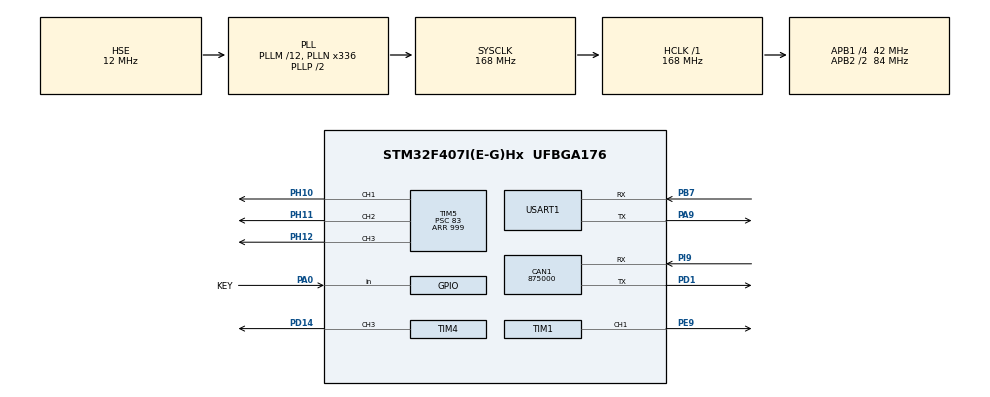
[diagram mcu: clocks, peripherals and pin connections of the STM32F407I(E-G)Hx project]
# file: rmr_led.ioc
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CAN1.CalculateBaudRate=875000
CAN1.CalculateTimeBit=1142
CAN1.CalculateTimeQuantum=380.95238095238096
FREERTOS.Tasks01=ledTask,24,256,StartledTask,Default,NULL,Dynamic,NULL,NULL;buzzerTask,24,256,StartbuzzerTask,Default,NULL,Dynamic,NULL,NULL;servoTask,24,256,StartservoTask,Default,NULL,Dynamic,NULL,NULL;motorTask,16,1024,StartmotorTask,Default,NULL,Dynamic,NULL,NULL
Mcu.Family=STM32F4
Mcu.Name=STM32F407I(E-G)Hx
Mcu.Package=UFBGA176
NVIC.PriorityGroup=NVIC_PRIORITYGROUP_4
NVIC.TIM8_UP_TIM13_IRQn=true\:15\:0\:false\:false\:true\:false\:false\:true\:true
NVIC.TimeBase=TIM8_UP_TIM13_IRQn
NVIC.TimeBaseIP=TIM13
PA0-WKUP.GPIO_Label=KEY
PA0-WKUP.GPIO_PuPd=GPIO_NOPULL
PA0-WKUP.Signal=GPIO_Input
PA13.Mode=Serial_Wire
PA13.Signal=SYS_JTMS-SWDIO
PA14.Mode=Serial_Wire
PA14.Signal=SYS_JTCK-SWCLK
PA9.Mode=Asynchronous
PA9.Signal=USART1_TX
PB7.Mode=Asynchronous
PB7.Signal=USART1_RX
PD1.Mode=CAN_Activate
PD1.Signal=CAN1_TX
PD14.Signal=S_TIM4_CH3
PE9.Signal=S_TIM1_CH1
PH0-OSC_IN.Mode=HSE-External-Oscillator
PH0-OSC_IN.Signal=RCC_OSC_IN
PH1-OSC_OUT.Mode=HSE-External-Oscillator
PH1-OSC_OUT.Signal=RCC_OSC_OUT
PH10.Signal=S_TIM5_CH1
PH11.Signal=S_TIM5_CH2
PH12.Signal=S_TIM5_CH3
PI9.Mode=CAN_Activate
PI9.Signal=CAN1_RX
ProjectManager.HeapSize=0x200
ProjectManager.StackSize=0x400
ProjectManager.TargetToolchain=CMake
RCC.48MHZClocksFreq_Value=84000000
RCC.AHBFreq_Value=168000000
RCC.APB1CLKDivider=RCC_HCLK_DIV4
RCC.APB1Freq_Value=42000000
RCC.APB1TimFreq_Value=84000000
RCC.APB2CLKDivider=RCC_HCLK_DIV2
RCC.APB2Freq_Value=84000000
RCC.APB2TimFreq_Value=168000000
RCC.CortexFreq_Value=168000000
RCC.HCLKFreq_Value=168000000
RCC.HSE_VALUE=12000000
RCC.HSI_VALUE=16000000
RCC.LSE_VALUE=32768
RCC.PLLM=12
RCC.PLLN=336
RCC.PLLSourceVirtual=RCC_PLLSOURCE_HSE
RCC.SYSCLKFreq_VALUE=168000000
RCC.SYSCLKSource=RCC_SYSCLKSOURCE_PLLCLK
RCC.VCOOutputFreq_Value=336000000
SH.S_TIM1_CH1.0=TIM1_CH1,PWM Generation1 CH1
SH.S_TIM4_CH3.0=TIM4_CH3,PWM Generation3 CH3
SH.S_TIM5_CH1.0=TIM5_CH1,PWM Generation1 CH1
SH.S_TIM5_CH2.0=TIM5_CH2,PWM Generation2 CH2
SH.S_TIM5_CH3.0=TIM5_CH3,PWM Generation3 CH3
TIM1.AutoReloadPreload=TIM_AUTORELOAD_PRELOAD_ENABLE
TIM1.AutomaticOutput=TIM_AUTOMATICOUTPUT_ENABLE
TIM1.BreakState=TIM_BREAK_DISABLE
TIM1.Channel-PWM\ Generation1\ CH1=TIM_CHANNEL_1
TIM1.Period=19999
TIM1.Prescaler=167
TIM1.Pulse-PWM\ Generation1\ CH1=500
TIM4.AutoReloadPreload=TIM_AUTORELOAD_PRELOAD_ENABLE
TIM4.Channel-PWM\ Generation3\ CH3=TIM_CHANNEL_3
TIM4.Period=249
TIM4.Prescaler=83
TIM4.Pulse-PWM\ Generation3\ CH3=125
TIM5.AutoReloadPreload=TIM_AUTORELOAD_PRELOAD_ENABLE
TIM5.Channel-PWM\ Generation1\ CH1=TIM_CHANNEL_1
TIM5.Channel-PWM\ Generation2\ CH2=TIM_CHANNEL_2
TIM5.Channel-PWM\ Generation3\ CH3=TIM_CHANNEL_3
TIM5.Period=999
TIM5.Prescaler=83
USART1.VirtualMode=VM_ASYNC
VP_FREERTOS_VS_CMSIS_V2.Mode=CMSIS_V2
VP_SYS_VS_tim13.Mode=TIM13
VP_TIM1_VS_ClockSourceINT.Mode=Internal
VP_TIM4_VS_ClockSourceINT.Mode=Internal
VP_TIM5_VS_ClockSourceINT.Mode=Internal
board=custom

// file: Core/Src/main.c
/* USER CODE BEGIN Header */
/**
  ******************************************************************************
  * @file           : main.c
  * @brief          : Main program body
  ******************************************************************************
  * @attention
  *
  * Copyright (c) 2026 STMicroelectronics.
  * All rights reserved.
  *
  * This software is licensed under terms that can be found in the LICENSE file
  * in the root directory of this software component.
  * If no LICENSE file comes with this software, it is provided AS-IS.
  *
  ******************************************************************************
  */
/* USER CODE END Header */
#include "main.h"
#include "cmsis_os.h"
#include "can.h"
#include "tim.h"
#include "usart.h"
#include "gpio.h"

void SystemClock_Config(void);
void MX_FREERTOS_Init(void);

int main(void)
{

  /* MCU Configuration--------------------------------------------------------*/

  /* Reset of all peripherals, Initializes the Flash interface and the Systick. */
  HAL_Init();

  /* Configure the system clock */
  SystemClock_Config();

  /* Initialize all configured peripherals */
  MX_GPIO_Init();
  MX_TIM5_Init();
  MX_TIM4_Init();
  MX_TIM1_Init();
  MX_CAN1_Init();
  MX_USART1_UART_Init();

  /* Init scheduler */
  osKernelInitialize();  /* Call init function for freertos objects (in cmsis_os2.c) */
  MX_FREERTOS_Init();

  /* Start scheduler */
  osKernelStart();

  /* We should never get here as control is now taken by the scheduler */

  /* Infinite loop */
  while (1)
  {

  }
}

void SystemClock_Config(void)
{
  RCC_OscInitTypeDef RCC_OscInitStruct = {0};
  RCC_ClkInitTypeDef RCC_ClkInitStruct = {0};

  /** Configure the main internal regulator output voltage
  */
  __HAL_RCC_PWR_CLK_ENABLE();
  __HAL_PWR_VOLTAGESCALING_CONFIG(PWR_REGULATOR_VOLTAGE_SCALE1);

  /** Initializes the RCC Oscillators according to the specified parameters
  * in the RCC_OscInitTypeDef structure.
  */
  RCC_OscInitStruct.OscillatorType = RCC_OSCILLATORTYPE_HSE;
  RCC_OscInitStruct.HSEState = RCC_HSE_ON;
  RCC_OscInitStruct.PLL.PLLState = RCC_PLL_ON;
  RCC_OscInitStruct.PLL.PLLSource = RCC_PLLSOURCE_HSE;
  RCC_OscInitStruct.PLL.PLLM = 12;
  RCC_OscInitStruct.PLL.PLLN = 336;
  RCC_OscInitStruct.PLL.PLLP = RCC_PLLP_DIV2;
  RCC_OscInitStruct.PLL.PLLQ = 4;
  if (HAL_RCC_OscConfig(&RCC_OscInitStruct) != HAL_OK)
  {
    Error_Handler();
  }

  /** Initializes the CPU, AHB and APB buses clocks
  */
  RCC_ClkInitStruct.ClockType = RCC_CLOCKTYPE_HCLK|RCC_CLOCKTYPE_SYSCLK
                              |RCC_CLOCKTYPE_PCLK1|RCC_CLOCKTYPE_PCLK2;
  RCC_ClkInitStruct.SYSCLKSource = RCC_SYSCLKSOURCE_PLLCLK;
  RCC_ClkInitStruct.AHBCLKDivider = RCC_SYSCLK_DIV1;
  RCC_ClkInitStruct.APB1CLKDivider = RCC_HCLK_DIV4;
  RCC_ClkInitStruct.APB2CLKDivider = RCC_HCLK_DIV2;

  if (HAL_RCC_ClockConfig(&RCC_ClkInitStruct, FLASH_LATENCY_5) != HAL_OK)
  {
    Error_Handler();
  }
}

void HAL_TIM_PeriodElapsedCallback(TIM_HandleTypeDef *htim)
{
  if (htim->Instance == TIM13)
  {
    HAL_IncTick();
  }
}

void Error_Handler(void)
{
  __disable_irq();
  while (1)
  {
  }
}

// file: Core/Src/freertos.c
/* USER CODE BEGIN Header */
/**
  ******************************************************************************
  * File Name          : freertos.c
  * Description        : Code for freertos applications
  ******************************************************************************
  * @attention
  *
  * Copyright (c) 2026 STMicroelectronics.
  * All rights reserved.
  *
  * This software is licensed under terms that can be found in the LICENSE file
  * in the root directory of this software component.
  * If no LICENSE file comes with this software, it is provided AS-IS.
  *
  ******************************************************************************
  */
/* USER CODE END Header */

#include "FreeRTOS.h"
#include "stm32f4xx.h"
#include "stm32f4xx_hal_can.h"
#include "task.h"
#include "main.h"
#include "cmsis_os.h"

/* USER CODE BEGIN Includes */
#include "tim.h"
#include "can.h"
#include "usart.h"
#include <stdint.h>
void LED_Breath(uint32_t channel);
void BUZZER_Beep(uint32_t f, uint32_t T);
void BUZZER_Music1(void);
void BUZZER_Music2(void);
void SERVO_Angle(uint32_t angle);
/* USER CODE END Includes */

/* USER CODE BEGIN Variables */
/* USER CODE BEGIN Variables */
volatile uint16_t motor_A = 0;
volatile int16_t  motor_V = 0;
volatile int16_t  motor_I = 0;
volatile uint8_t  motor_t = 0;
volatile int32_t  motor_count  = 0;
volatile float    output_angle = 0.0f;
/* USER CODE END Variables */

/* USER CODE END Variables */
/* Definitions for ledTask */
osThreadId_t ledTaskHandle;
const osThreadAttr_t ledTask_attributes = {
  .name = "ledTask",
  .stack_size = 256 * 4,
  .priority = (osPriority_t) osPriorityNormal,
};
/* Definitions for buzzerTask */
osThreadId_t buzzerTaskHandle;
const osThreadAttr_t buzzerTask_attributes = {
  .name = "buzzerTask",
  .stack_size = 256 * 4,
  .priority = (osPriority_t) osPriorityNormal,
};
/* Definitions for servoTask */
osThreadId_t servoTaskHandle;
const osThreadAttr_t servoTask_attributes = {
  .name = "servoTask",
  .stack_size = 256 * 4,
  .priority = (osPriority_t) osPriorityNormal,
};
/* Definitions for motorTask */
osThreadId_t motorTaskHandle;
const osThreadAttr_t motorTask_attributes = {
  .name = "motorTask",
  .stack_size = 1024 * 4,
  .priority = (osPriority_t) osPriorityBelowNormal,
};

void StartledTask(void *argument);
void StartbuzzerTask(void *argument);
void StartservoTask(void *argument);
void StartmotorTask(void *argument);

void MX_FREERTOS_Init(void); /* (MISRA C 2004 rule 8.1) */

void MX_FREERTOS_Init(void) {

  /* Create the thread(s) */
  /* creation of ledTask */
  ledTaskHandle = osThreadNew(StartledTask, NULL, &ledTask_attributes);

  /* creation of buzzerTask */
  buzzerTaskHandle = osThreadNew(StartbuzzerTask, NULL, &buzzerTask_attributes);

  /* creation of servoTask */
  servoTaskHandle = osThreadNew(StartservoTask, NULL, &servoTask_attributes);

  /* creation of motorTask */
  motorTaskHandle = osThreadNew(StartmotorTask, NULL, &motorTask_attributes);

}

void StartledTask(void *argument)
{
  /* USER CODE BEGIN StartledTask */
  /* Infinite loop */

  HAL_TIM_PWM_Start(&htim5, TIM_CHANNEL_3);//RED LED PWM START
  HAL_TIM_PWM_Start(&htim5, TIM_CHANNEL_2);//GREEN LED PWM START
  HAL_TIM_PWM_Start(&htim5, TIM_CHANNEL_1);//BLUE LED PWM START
  for(;;)
  {
    LED_Breath(TIM_CHANNEL_1);//B
    LED_Breath(TIM_CHANNEL_2);//G
    LED_Breath(TIM_CHANNEL_3);//R
  }
  /* USER CODE END StartledTask */
}

void StartbuzzerTask(void *argument)
{
  /* USER CODE BEGIN StartbuzzerTask */
  /* Infinite loop */
  uint8_t state = 0;
  HAL_TIM_PWM_Start(&htim4, TIM_CHANNEL_3);//BUZZER
  BUZZER_Beep(4000, 200);
  for(;;)
  {
    if(HAL_GPIO_ReadPin(KEY_GPIO_Port, KEY_Pin) == GPIO_PIN_RESET)
    {
      osDelay(20);
      if(HAL_GPIO_ReadPin(KEY_GPIO_Port, KEY_Pin) == GPIO_PIN_RESET)
      {
        while (HAL_GPIO_ReadPin(KEY_GPIO_Port, KEY_Pin) == GPIO_PIN_RESET)
        {
          osDelay(10);
        }
        osDelay(20);
      }
      state++;
      if(state == 1)
      {
        BUZZER_Music1();
      }
      if(state == 2)
      {
        BUZZER_Music2();
      }
      if(state > 2)
      {
        state = 0;
      }
    }
    osDelay(10);
  }
  /* USER CODE END StartbuzzerTask */
}

void StartservoTask(void *argument)
{
  /* USER CODE BEGIN StartservoTask */
  /* Infinite loop */
  HAL_TIM_PWM_Start(&htim1, TIM_CHANNEL_1);
  uint8_t angle = 0;
  SERVO_Angle(0);
  osDelay(1000);
  for(;;)
  {
    if(angle < 180)
    {
      angle += 45;
      SERVO_Angle(angle);
      osDelay(1000);
    }
    else {
      angle = 0;
      SERVO_Angle(angle);
      osDelay(1000);
    }
  }
  /* USER CODE END StartservoTask */
}

void StartmotorTask(void *argument)
{
  /* USER CODE BEGIN StartmotorTask */
  /* Infinite loop */
  CAN_FilterTypeDef can_filter;
  can_filter.FilterBank = 0;//0号过滤器
  can_filter.SlaveStartFilterBank = 14;//28组filter
  can_filter.FilterActivation = ENABLE; //激活这个filter
  can_filter.FilterFIFOAssignment = CAN_RX_FIFO0;
  can_filter.FilterMode = CAN_FILTERMODE_IDMASK;//掩码模式
  can_filter.FilterIdHigh = 0;
  can_filter.FilterIdLow = 0;
  can_filter.FilterMaskIdHigh = 0;
  can_filter.FilterMaskIdLow = 0;//全收
  can_filter.FilterScale = CAN_FILTERSCALE_32BIT;//32位宽
  HAL_CAN_ConfigFilter(&hcan1, &can_filter);//配置过滤器
  HAL_CAN_Start(&hcan1);//启动CAN1
  HAL_CAN_ActivateNotification(&hcan1, CAN_IT_RX_FIFO1_MSG_PENDING);//配置接受中断
  for(;;)
  {
    osDelay(1);
  }
  /* USER CODE END StartmotorTask */
}

/* USER CODE BEGIN Application */
void LED_Breath(uint32_t channel)
{
  uint16_t t;
  for(t = 0;t <= 999;t++)
  {
    __HAL_TIM_SET_COMPARE(&htim5, channel, t);
    osDelay(1);
  }
  for(t = 999;t > 0;t--)
  {
    __HAL_TIM_SET_COMPARE(&htim5, channel, t);
    osDelay(1);
  }
  __HAL_TIM_SET_COMPARE(&htim5, channel, 0);
}
void BUZZER_Beep(uint32_t f, uint32_t T)
{
  uint32_t arr;
  arr = 1000000/f - 1;
  __HAL_TIM_SET_AUTORELOAD(&htim4 , arr);//arr
  __HAL_TIM_SET_COMPARE(&htim4, TIM_CHANNEL_3, (arr + 1)/2);//ccr
  osDelay(T);
  __HAL_TIM_SET_COMPARE(&htim4, TIM_CHANNEL_3, 0);
}
void BUZZER_Music1(void)
{
  uint16_t star[] = {523,523,784,784,880,880,784, 698,698,659,659,587,587,523};
  uint16_t beat[] = {300,300,300,300,300,300,600, 300,300,300,300,300,300,600};
  for(uint8_t i = 0; i < 14; i++)
  {
    BUZZER_Beep(star[i], beat[i]);
    osDelay(50);
  }
}
void BUZZER_Music2(void)
{
  uint16_t sun[] = {784,784,523,523,587,659, 784,784,523,523,587,659,587,523,784};
  uint16_t beat[] = {300,300,300,300,300,450, 300,300,300,300,300,300,300,300,600};
  for(uint8_t i = 0; i < 15; i++)
  {
    BUZZER_Beep(sun[i], beat[i]);
    osDelay(50);
  }
}
void SERVO_Angle(uint32_t angle)
{
  uint32_t ccr;
  ccr = 500 + angle * 2000/180;
  __HAL_TIM_SET_COMPARE(&htim1, TIM_CHANNEL_1, ccr);
}
void CAN_Send(int16_t i)
{
  CAN_TxHeaderTypeDef can_tx_header;
  uint32_t can_tx_box;
  uint8_t tx_Data[8] = {0};
  //Id的配置
  can_tx_header.DLC = 8;//8字节
  can_tx_header.StdId = 0x20;//帧ID
  can_tx_header.IDE = CAN_ID_STD;//标准帧
  can_tx_header.RTR = CAN_RTR_DATA;//数据帧

  tx_Data[0] = (i >> 8) & 0xFF;//高位
  tx_Data[1] = i & 0xFF;//低位
  HAL_CAN_AddTxMessage(&hcan1, &can_tx_header, tx_Data, &can_tx_box);//打包发邮箱
}
void HAL_CAN_RxFifo0MsgPendingCallback(CAN_HandleTypeDef *hcan)
{
  CAN_RxHeaderTypeDef rx_header;
  uint8_t rx_data[8];

  static uint16_t last_angle;
  uint16_t original_angle;
  int16_t vary ;
  HAL_CAN_GetRxMessage(hcan, CAN_RX_FIFO0, &rx_header, rx_data);
  if(rx_header.StdId == 0x201)//ID1
  {
    motor_A = (rx_data[0] << 8) | rx_data[1];
    motor_V = (int16_t)((rx_data[2] << 8) | rx_data[3]);
    motor_I = (int16_t)((rx_data[4] << 8) | rx_data[5]);
    motor_t = rx_data[6];
  }
}

/* USER CODE END Application */
